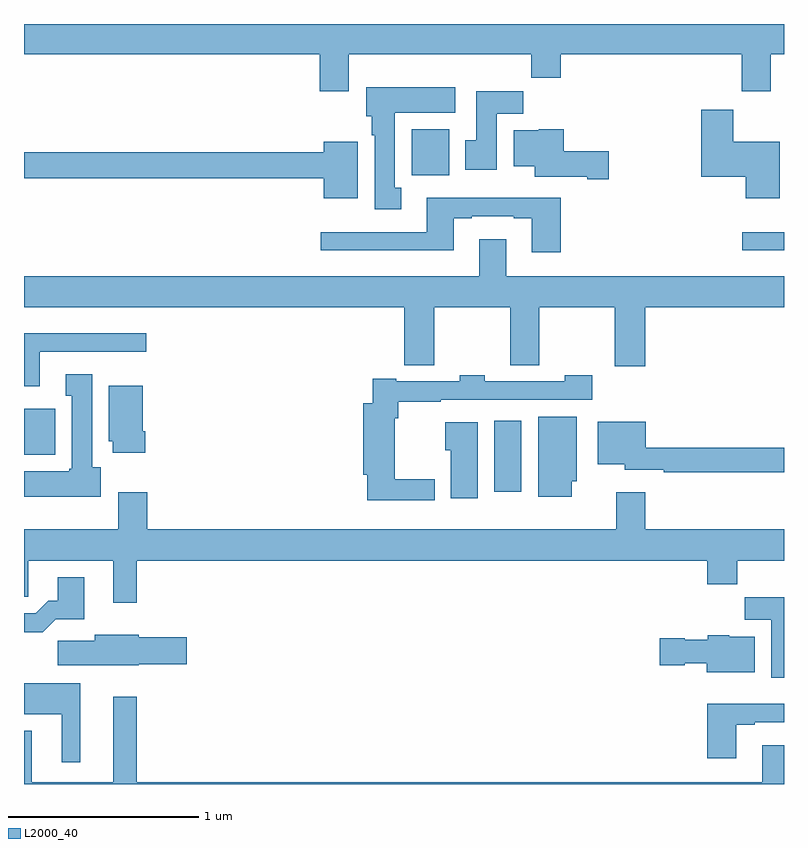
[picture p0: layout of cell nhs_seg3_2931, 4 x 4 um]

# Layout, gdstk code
import gdstk
lib = gdstk.Library(unit=1e-6, precision=1e-09)
def R(c, l, rs):  # rectangles x0, y0, x1, y1
    for r in rs: c.add(gdstk.rectangle(r[:2], r[2:], *l))
def P(c, l, *ps):  # polygons
    for p in ps: c.add(gdstk.Polygon(p, *l))
L2000_40 = (2000, 40)

nhs_seg3_2931 = lib.new_cell('nhs_seg3_2931')
R(nhs_seg3_2931, L2000_40, [(265.475,707.937,265.618,708.313), (263,708.134,263.164,708.376), (266.781,709.208,267,709.305), (265.04,709.604,265.237,709.846)])
P(nhs_seg3_2931, L2000_40, [(266.777,710.046),(266.929,710.046),(266.929,710.24),(267,710.24),(267,710.4),(263,710.4),(263,710.24),(264.557,710.24),(264.557,710.046),(264.709,710.046),(264.709,710.24),(265.669,710.24),(265.669,710.116),(265.826,710.116),(265.826,710.24),(266.777,710.24)],
  [(264.985,709.538),(264.952,709.538),(264.952,709.934),(265.27,709.934),(265.27,710.068),(264.8,710.068),(264.8,709.914),(264.83,709.914),(264.83,709.814),(264.845,709.814),(264.845,709.425),(264.985,709.425)],
  [(265.489,709.928),(265.628,709.928),(265.628,710.047),(265.379,710.047),(265.379,709.788),(265.322,709.788),(265.322,709.632),(265.489,709.632)],
  [(266.977,709.78),(266.734,709.78),(266.734,709.948),(266.564,709.948),(266.564,709.595),(266.798,709.595),(266.798,709.484),(266.977,709.484)],
  [(266.077,709.73),(265.841,709.73),(265.841,709.846),(265.71,709.846),(265.71,709.84),(265.577,709.84),(265.577,709.652),(265.688,709.652),(265.688,709.595),(265.964,709.595),(265.964,709.583),(266.077,709.583)],
  [(264.757,709.78),(264.578,709.78),(264.578,709.724),(263,709.724),(263,709.588),(264.578,709.588),(264.578,709.484),(264.757,709.484)],
  [(265.826,709.486),(265.121,709.486),(265.121,709.305),(264.561,709.305),(264.561,709.208),(265.261,709.208),(265.261,709.377),(265.357,709.377),(265.357,709.389),(265.577,709.389),(265.577,709.377),(265.673,709.377),(265.673,709.2),(265.826,709.2)],
  [(266.27,708.908),(267,708.908),(267,709.072),(265.537,709.072),(265.537,709.267),(265.397,709.267),(265.397,709.072),(263,709.072),(263,708.908),(265.001,708.908),(265.001,708.604),(265.16,708.604),(265.16,708.908),(265.558,708.908),(265.558,708.604),(265.712,708.604),(265.712,708.908),(266.11,708.908),(266.11,708.6),(266.27,708.6)],
  [(263.083,708.675),(263.644,708.675),(263.644,708.772),(263,708.772),(263,708.494),(263.083,708.494)],
  [(263.404,708.066),(263.359,708.066),(263.359,708.556),(263.219,708.556),(263.219,708.443),(263.252,708.443),(263.252,708.06),(263.239,708.06),(263.239,708.046),(263,708.046),(263,707.912),(263.404,707.912)],
  [(265.162,708.004),(264.952,708.004),(264.952,708.326),(264.971,708.326),(264.971,708.411),(265.193,708.411),(265.193,708.423),(265.99,708.423),(265.99,708.552),(265.845,708.552),(265.845,708.519),(265.425,708.519),(265.425,708.552),(265.293,708.552),(265.293,708.519),(264.958,708.519),(264.958,708.532),(264.835,708.532),(264.835,708.403),(264.785,708.403),(264.785,708.027),(264.806,708.027),(264.806,707.894),(265.162,707.894)],
  [(263.639,708.256),(263.626,708.256),(263.626,708.496),(263.447,708.496),(263.447,708.204),(263.468,708.204),(263.468,708.144),(263.639,708.144)],
  [(265.882,707.994),(265.909,707.994),(265.909,708.334),(265.706,708.334),(265.706,707.912),(265.882,707.912)],
  [(267,708.17),(266.272,708.17),(266.272,708.307),(266.021,708.307),(266.021,708.083),(266.162,708.083),(266.162,708.054),(266.368,708.054),(266.368,708.042),(267,708.042)],
  [(265.387,708.304),(265.217,708.304),(265.217,708.157),(265.247,708.157),(265.247,707.904),(265.387,707.904)],
  [(263.593,707.576),(266.597,707.576),(266.597,707.452),(266.753,707.452),(266.753,707.576),(267,707.576),(267,707.74),(266.27,707.74),(266.27,707.935),(266.117,707.935),(266.117,707.74),(263.648,707.74),(263.648,707.935),(263.495,707.935),(263.495,707.74),(263,707.74),(263,707.386),(263.022,707.386),(263.022,707.576),(263.471,707.576),(263.471,707.355),(263.593,707.355)],
  [(263.168,707.267),(263.317,707.267),(263.317,707.488),(263.177,707.488),(263.177,707.365),(263.128,707.365),(263.061,707.298),(263,707.298),(263,707.198),(263.099,707.198)],
  [(267,707.383),(266.794,707.383),(266.794,707.264),(266.933,707.264),(266.933,706.958),(267,706.958)],
  [(263.604,707.03),(263.857,707.03),(263.857,707.172),(263.604,707.172),(263.604,707.185),(263.372,707.185),(263.372,707.153),(263.178,707.153),(263.178,707.024),(263.604,707.024)],
  [(266.845,707.176),(266.712,707.176),(266.712,707.182),(266.598,707.182),(266.598,707.158),(266.478,707.158),(266.478,707.166),(266.346,707.166),(266.346,707.024),(266.478,707.024),(266.478,707.036),(266.594,707.036),(266.594,706.988),(266.845,706.988)],
  [(263.296,706.93),(263,706.93),(263,706.766),(263.198,706.766),(263.198,706.515),(263.296,706.515)],
  [(267,706.603),(266.885,706.603),(266.885,706.408),(263.593,706.408),(263.593,706.858),(263.471,706.858),(263.471,706.408),(263.041,706.408),(263.041,706.681),(263,706.681),(263,706.4),(267,706.4)],
  [(266.749,706.713),(266.845,706.713),(266.845,706.725),(267,706.725),(267,706.822),(266.597,706.822),(266.597,706.536),(266.749,706.536)])

lib.write_gds('nhs_seg3_2931.gds')
